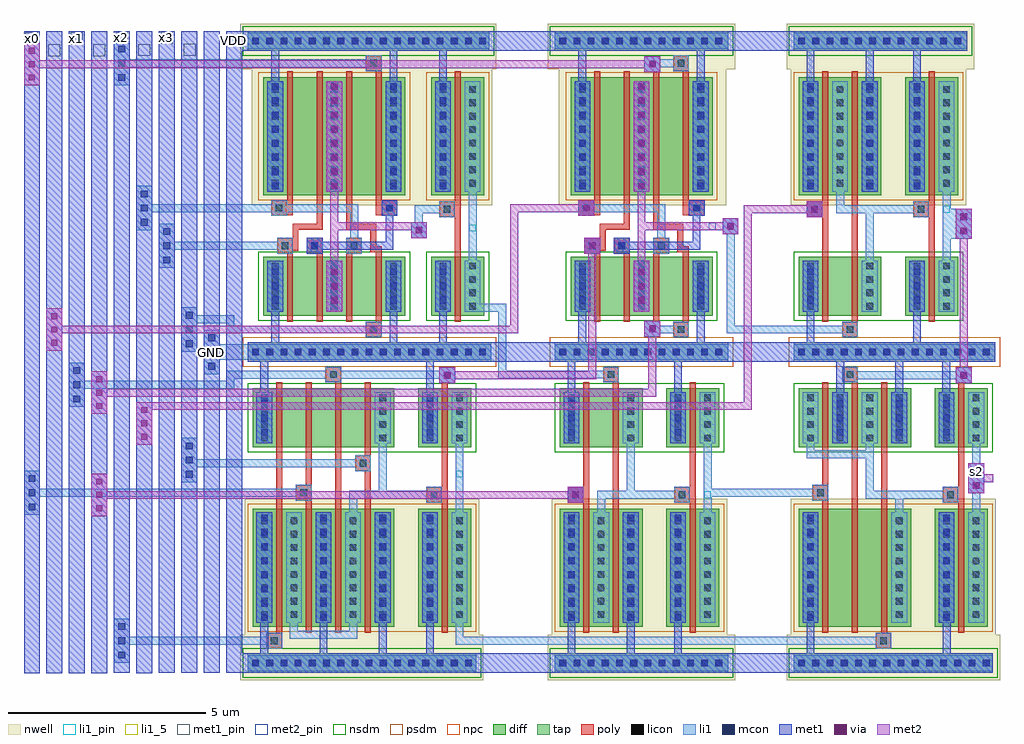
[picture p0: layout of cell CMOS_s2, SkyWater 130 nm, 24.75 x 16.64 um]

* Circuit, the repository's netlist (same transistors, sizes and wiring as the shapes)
* NGSPICE file created from CMOS_s2.ext - technology: sky130A

.subckt CMOS_AND GND AND A B VDD
X0 a_n265_0# B VDD VDD sky130_fd_pr__pfet_01v8 ad=1.8e+12p pd=7.2e+06u as=5.4e+12p ps=2.16e+07u w=3e+06u l=150000u
X1 VDD A a_n265_0# VDD sky130_fd_pr__pfet_01v8 ad=0p pd=0u as=0p ps=0u w=3e+06u l=150000u
X2 a_n265_0# A a_n265_n610# GND sky130_fd_pr__nfet_01v8 ad=9e+11p pd=4.2e+06u as=9e+11p ps=4.2e+06u w=1.5e+06u l=150000u
X3 AND a_n265_0# VDD VDD sky130_fd_pr__pfet_01v8 ad=1.8e+12p pd=7.2e+06u as=0p ps=0u w=3e+06u l=150000u
X4 a_n265_n610# B GND GND sky130_fd_pr__nfet_01v8 ad=0p pd=0u as=1.8e+12p ps=8.4e+06u w=1.5e+06u l=150000u
X5 AND a_n265_0# GND GND sky130_fd_pr__nfet_01v8 ad=9e+11p pd=4.2e+06u as=0p ps=0u w=1.5e+06u l=150000u
.ends

.subckt CMOS_3in_OR GND A B C OR VDD
X0 a_n480_n610# B GND GND sky130_fd_pr__nfet_01v8 ad=1.8e+12p pd=8.4e+06u as=2.7e+12p ps=1.26e+07u w=1.5e+06u l=150000u
X1 OR a_n480_n610# VDD VDD sky130_fd_pr__pfet_01v8 ad=1.8e+12p pd=7.2e+06u as=3.6e+12p ps=1.44e+07u w=3e+06u l=150000u
X2 a_n480_n610# C a_n180_0# VDD sky130_fd_pr__pfet_01v8 ad=1.8e+12p pd=7.2e+06u as=1.8e+12p ps=7.2e+06u w=3e+06u l=150000u
X3 GND A a_n480_n610# GND sky130_fd_pr__nfet_01v8 ad=0p pd=0u as=0p ps=0u w=1.5e+06u l=150000u
X4 OR a_n480_n610# GND GND sky130_fd_pr__nfet_01v8 ad=9e+11p pd=4.2e+06u as=0p ps=0u w=1.5e+06u l=150000u
X5 a_n330_0# A VDD VDD sky130_fd_pr__pfet_01v8 ad=1.8e+12p pd=7.2e+06u as=0p ps=0u w=3e+06u l=150000u
X6 a_n180_0# B a_n330_0# VDD sky130_fd_pr__pfet_01v8 ad=0p pd=0u as=0p ps=0u w=3e+06u l=150000u
X7 GND C a_n480_n610# GND sky130_fd_pr__nfet_01v8 ad=0p pd=0u as=0p ps=0u w=1.5e+06u l=150000u
.ends

.subckt CMOS_4in_AND GND OUT A B C D VDD
X0 a_n405_0# A a_n105_n610# GND sky130_fd_pr__nfet_01v8 ad=9e+11p pd=4.2e+06u as=9e+11p ps=4.2e+06u w=1.5e+06u l=150000u
X1 VDD C a_n405_0# VDD sky130_fd_pr__pfet_01v8 ad=7.2e+12p pd=2.88e+07u as=3.6e+12p ps=1.44e+07u w=3e+06u l=150000u
X2 a_n405_0# B VDD VDD sky130_fd_pr__pfet_01v8 ad=0p pd=0u as=0p ps=0u w=3e+06u l=150000u
X3 a_n405_0# D VDD VDD sky130_fd_pr__pfet_01v8 ad=0p pd=0u as=0p ps=0u w=3e+06u l=150000u
X4 VDD A a_n405_0# VDD sky130_fd_pr__pfet_01v8 ad=0p pd=0u as=0p ps=0u w=3e+06u l=150000u
X5 a_n105_n610# B a_n255_n610# GND sky130_fd_pr__nfet_01v8 ad=0p pd=0u as=9e+11p ps=4.2e+06u w=1.5e+06u l=150000u
X6 OUT a_n405_0# GND GND sky130_fd_pr__nfet_01v8 ad=9e+11p pd=4.2e+06u as=1.8e+12p ps=8.4e+06u w=1.5e+06u l=150000u
X7 a_n255_n610# C a_n405_n610# GND sky130_fd_pr__nfet_01v8 ad=0p pd=0u as=9e+11p ps=4.2e+06u w=1.5e+06u l=150000u
X8 OUT a_n405_0# VDD VDD sky130_fd_pr__pfet_01v8 ad=1.8e+12p pd=7.2e+06u as=0p ps=0u w=3e+06u l=150000u
X9 a_n405_n610# D GND GND sky130_fd_pr__nfet_01v8 ad=0p pd=0u as=0p ps=0u w=1.5e+06u l=150000u
.ends

.subckt CMOS_XNOR GND XNOR B A_bar A B_bar VDD
X0 XNOR a_n233_n610# GND GND sky130_fd_pr__nfet_01v8 ad=9e+11p pd=4.2e+06u as=2.7e+12p ps=1.26e+07u w=1.5e+06u l=150000u
X1 a_n383_n610# A GND GND sky130_fd_pr__nfet_01v8 ad=9e+11p pd=4.2e+06u as=0p ps=0u w=1.5e+06u l=150000u
X2 a_n233_n610# B a_n383_n610# GND sky130_fd_pr__nfet_01v8 ad=9e+11p pd=4.2e+06u as=0p ps=0u w=1.5e+06u l=150000u
X3 a_n383_0# B_bar VDD VDD sky130_fd_pr__pfet_01v8 ad=1.8e+12p pd=7.2e+06u as=5.4e+12p ps=2.16e+07u w=3e+06u l=150000u
X4 a_n233_n610# A a_n383_0# VDD sky130_fd_pr__pfet_01v8 ad=1.8e+12p pd=7.2e+06u as=0p ps=0u w=3e+06u l=150000u
X5 a_n83_0# A_bar a_n233_n610# VDD sky130_fd_pr__pfet_01v8 ad=1.8e+12p pd=7.2e+06u as=0p ps=0u w=3e+06u l=150000u
X6 a_n83_n610# B_bar a_n233_n610# GND sky130_fd_pr__nfet_01v8 ad=9e+11p pd=4.2e+06u as=0p ps=0u w=1.5e+06u l=150000u
X7 GND A_bar a_n83_n610# GND sky130_fd_pr__nfet_01v8 ad=0p pd=0u as=0p ps=0u w=1.5e+06u l=150000u
X8 XNOR a_n233_n610# VDD VDD sky130_fd_pr__pfet_01v8 ad=1.8e+12p pd=7.2e+06u as=0p ps=0u w=3e+06u l=150000u
X9 VDD B a_n83_0# VDD sky130_fd_pr__pfet_01v8 ad=0p pd=0u as=0p ps=0u w=3e+06u l=150000u
.ends

.subckt CMOS_XOR GND XOR B A_bar A B_bar VDD
X0 a_90_0# A_bar XOR VDD sky130_fd_pr__pfet_01v8 ad=1.8e+12p pd=7.2e+06u as=1.8e+12p ps=7.2e+06u w=3e+06u l=150000u
X1 VDD B a_90_0# VDD sky130_fd_pr__pfet_01v8 ad=3.6e+12p pd=1.44e+07u as=0p ps=0u w=3e+06u l=150000u
X2 a_n210_n610# A GND GND sky130_fd_pr__nfet_01v8 ad=9e+11p pd=4.2e+06u as=1.8e+12p ps=8.4e+06u w=1.5e+06u l=150000u
X3 GND A_bar a_90_n610# GND sky130_fd_pr__nfet_01v8 ad=0p pd=0u as=9e+11p ps=4.2e+06u w=1.5e+06u l=150000u
X4 XOR A a_n210_0# VDD sky130_fd_pr__pfet_01v8 ad=0p pd=0u as=1.8e+12p ps=7.2e+06u w=3e+06u l=150000u
X5 a_n210_0# B_bar VDD VDD sky130_fd_pr__pfet_01v8 ad=0p pd=0u as=0p ps=0u w=3e+06u l=150000u
X6 a_90_n610# B_bar XOR GND sky130_fd_pr__nfet_01v8 ad=0p pd=0u as=9e+11p ps=4.2e+06u w=1.5e+06u l=150000u
X7 XOR B a_n210_n610# GND sky130_fd_pr__nfet_01v8 ad=0p pd=0u as=0p ps=0u w=1.5e+06u l=150000u
.ends

.subckt CMOS_s2 GND x0 x0_bar x1 x1_bar x2 x2_bar x3 VDD x3_bar s2
XCMOS_AND_0 GND CMOS_AND_0/AND CMOS_AND_0/A x2_bar VDD CMOS_AND
XCMOS_AND_1 GND CMOS_AND_1/AND CMOS_AND_1/A x1_bar VDD CMOS_AND
XCMOS_3in_OR_0 GND CMOS_AND_1/AND CMOS_AND_0/AND CMOS_3in_OR_0/C s2 VDD CMOS_3in_OR
XCMOS_4in_AND_0 GND CMOS_3in_OR_0/C x3_bar x1 x0 x2 VDD CMOS_4in_AND
XCMOS_XNOR_0 GND CMOS_AND_1/A x2 x3_bar x3 x2_bar VDD CMOS_XNOR
XCMOS_XOR_0 GND CMOS_AND_0/A x0 x1_bar x1 x0_bar VDD CMOS_XOR
.ends

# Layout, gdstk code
import gdstk
lib = gdstk.Library(unit=1e-6, precision=1e-09)
def R(c, l, rs):  # rectangles x0, y0, x1, y1
    for r in rs: c.add(gdstk.rectangle(r[:2], r[2:], *l))
def A(c, l, x, y, w, h, nx, ny, dx, dy):  # array of equal rectangles
    R(c, l, [(x+i*dx, y+j*dy, x+i*dx+w, y+j*dy+h) for i in range(nx) for j in range(ny)])
nwell = (64, 20)
diff = (65, 20)
tap = (65, 44)
poly = (66, 20)
licon = (66, 44)
li1_5 = (67, 5)
li1_pin = (67, 16)
li1 = (67, 20)
mcon = (67, 44)
met1_pin = (68, 16)
met1 = (68, 20)
via = (68, 44)
met2_pin = (69, 16)
met2 = (69, 20)
nsdm = (93, 44)
psdm = (94, 20)
npc = (95, 20)

cmos_xnor = lib.new_cell('CMOS_XNOR')
R(cmos_xnor, nwell, [(-2.965,-0.25,3.14,3.2), (-3.245,3.2,3.245,4.35)])
R(cmos_xnor, diff, [(-2.665,-3.05,0.935,-1.55), (1.59,-3.05,2.94,-1.55), (-2.665,0,0.935,3), (1.59,0,2.94,3)])
R(cmos_xnor, tap, [(-3.065,-4.22,3.12,-3.72), (-3.065,3.67,3.065,4.17)])
A(cmos_xnor, poly, -2.065, -3.2, 0.15, 1.725, 3, 1, 0.75, 0)
R(cmos_xnor, poly, [(-0.065,-3.6,0.335,-3.2), (0.185,-3.2,0.335,-1.44), (2.19,-3.2,2.34,-0.55), (-2.315,-1.475,-1.915,-1.4), (-1.565,-1.475,-1.165,-1.075), (-0.565,-1.475,-0.165,-1.075), (0.045,-1.44,0.335,-1.29), (-2.315,-1.4,-1.775,-1.075), (0.045,-1.29,0.195,-0.865), (-1.925,-1.075,-1.775,-0.865), (-1.925,-0.865,-1.165,-0.715), (-0.565,-0.865,0.195,-0.715), (-1.315,-0.715,-1.165,3.15), (-0.565,-0.715,-0.415,3.15), (1.79,-0.55,2.34,-0.15), (-2.465,-0.52,-2.065,-0.505), (0.335,-0.52,0.735,-0.505), (-2.465,-0.505,-1.915,-0.12), (0.185,-0.505,0.735,-0.12), (2.19,-0.15,2.34,3.15), (-2.065,-0.12,-1.915,3.15), (0.185,-0.12,0.335,3.15), (-0.065,3.15,0.335,3.55)])
A(cmos_xnor, licon, -2.95, -4.055, 0.17, 0.17, 17, 2, 0.36, 7.89)
A(cmos_xnor, licon, -2.45, -2.895, 0.17, 0.17, 3, 4, 1.5, 0.34)
A(cmos_xnor, licon, 1.805, -2.895, 0.17, 0.17, 1, 4, 0, 0.34)
A(cmos_xnor, licon, 2.555, -2.895, 0.17, 0.17, 1, 4, 0, 0.34)
A(cmos_xnor, licon, -2.45, 0.225, 0.17, 0.17, 3, 8, 1.5, 0.34)
A(cmos_xnor, licon, 1.805, 0.225, 0.17, 0.17, 1, 8, 0, 0.34)
A(cmos_xnor, licon, 2.555, 0.225, 0.17, 0.17, 1, 8, 0, 0.34)
R(cmos_xnor, licon, [(0.05,-3.485,0.22,-3.315), (-2.2,-1.36,-2.03,-1.19), (-1.45,-1.36,-1.28,-1.19), (-0.45,-1.36,-0.28,-1.19), (1.905,-0.435,2.075,-0.265), (-2.35,-0.405,-2.18,-0.235), (0.45,-0.405,0.62,-0.235), (0.05,3.265,0.22,3.435)])
R(cmos_xnor, li1_5, [(1.905,-0.435,2.075,-0.265)])
R(cmos_xnor, li1_pin, [(0.05,-3.485,0.22,-3.315), (-2.2,-1.36,-2.03,-1.19), (2.555,-0.91,2.725,-0.74), (-2.38,-0.445,-2.135,-0.21), (0.05,3.265,0.22,3.435)])
A(cmos_xnor, li1, -2.565, -2.95, 0.4, 1.3, 3, 1, 1.5, 0)
A(cmos_xnor, li1, -2.565, 0.1, 0.4, 2.8, 3, 1, 1.5, 0)
R(cmos_xnor, li1, [(-3.065,-4.17,3.12,-3.77), (-0.065,-3.6,0.335,-3.2), (1.69,-2.95,2.09,-1.65), (2.44,-2.95,2.84,-1.65), (2.54,-1.65,2.74,0.1), (-2.315,-1.475,-1.915,-1.075), (-1.565,-1.475,-1.165,-1.075), (-0.565,-1.475,-0.165,-1.075), (1.08,-1.08,1.48,-0.68), (-0.465,-1.075,-0.265,-0.42), (1.18,-0.68,1.38,-0.45), (1.79,-0.55,2.19,-0.45), (-2.465,-0.52,-2.065,-0.42), (0.335,-0.52,0.735,-0.12), (1.18,-0.45,2.19,-0.25), (-2.465,-0.42,-0.265,-0.22), (1.79,-0.25,2.19,-0.15), (-2.465,-0.22,-2.065,-0.12), (1.69,0.1,2.09,2.9), (2.44,0.1,2.84,2.9), (-0.065,3.15,0.335,3.55), (-3.065,3.72,3.065,4.12)])
A(cmos_xnor, mcon, -2.95, -4.055, 0.17, 0.17, 17, 2, 0.36, 7.89)
A(cmos_xnor, mcon, -2.45, -2.745, 0.17, 0.17, 3, 3, 1.5, 0.36)
A(cmos_xnor, mcon, 1.805, -2.745, 0.17, 0.17, 1, 3, 0, 0.36)
A(cmos_xnor, mcon, -2.45, 0.155, 0.17, 0.17, 3, 8, 1.5, 0.36)
A(cmos_xnor, mcon, 1.805, 0.155, 0.17, 0.17, 1, 8, 0, 0.36)
R(cmos_xnor, mcon, [(-1.45,-1.36,-1.28,-1.19), (1.195,-0.965,1.365,-0.795), (0.45,-0.405,0.62,-0.235)])
R(cmos_xnor, met1_pin, [(-1.165,-4.07,-0.965,-3.87), (-1.165,3.82,-0.965,4.02)])
A(cmos_xnor, met1, -2.565, -2.95, 0.4, 1.3, 3, 1, 1.5, 0)
A(cmos_xnor, met1, -2.565, 0.1, 0.4, 2.8, 3, 1, 1.5, 0)
R(cmos_xnor, met1, [(-3.065,-4.22,3.12,-3.72), (-2.465,-3.72,-2.265,-2.95), (0.535,-3.72,0.735,-2.95), (1.79,-3.72,1.99,-2.95), (1.69,-2.95,2.09,-1.65), (-1.565,-1.475,-1.165,-1.375), (-1.565,-1.375,0.63,-1.175), (-1.565,-1.175,-1.165,-1.075), (0.435,-1.175,0.63,-0.52), (1.08,-1.08,1.48,-0.68), (0.335,-0.52,0.735,-0.12), (1.69,0.1,2.09,2.9), (-2.465,2.9,-2.265,3.67), (0.535,2.9,0.735,3.67), (1.79,2.9,1.99,3.67), (-3.065,3.67,3.065,4.17)])
A(cmos_xnor, via, -0.94, -2.735, 0.15, 0.15, 1, 3, 0, 0.36)
A(cmos_xnor, via, -0.94, 0.165, 0.15, 0.15, 1, 8, 0, 0.36)
R(cmos_xnor, via, [(1.205,-0.955,1.355,-0.805)])
R(cmos_xnor, met2, [(-1.065,-2.95,-0.665,-1.65), (-0.965,-1.65,-0.765,-0.88), (1.08,-1.08,1.48,-0.88), (-0.965,-0.88,1.48,-0.68), (-0.965,-0.68,-0.765,0.1), (-1.065,0.1,-0.665,2.9)])
R(cmos_xnor, nsdm, [(-2.79,-3.175,1.06,-1.425), (1.465,-3.175,3.065,-1.425), (-3.19,3.545,3.19,4.295)])
R(cmos_xnor, psdm, [(-3.19,-4.345,3.245,-3.595), (-2.79,-0.125,1.06,3.125), (1.465,-0.125,3.065,3.125)])
R(cmos_xnor, npc, [(-0.05,-3.585,0.32,-3.215), (-2.3,-1.46,-1.93,-1.09), (-1.55,-1.46,-1.18,-1.09), (-0.55,-1.46,-0.18,-1.09), (1.805,-0.535,2.175,-0.165), (-2.45,-0.505,-2.08,-0.135), (0.35,-0.505,0.72,-0.135), (-0.05,3.165,0.32,3.535)])
cmos_xnor.add(gdstk.Label('GND!', (-1.065,-3.97), layer=68, texttype=16))
cmos_xnor.add(gdstk.Label('VDD', (-1.065,3.92), layer=68, texttype=16))
cmos_xnor.add(gdstk.Label('XNOR', (2.64,-0.825), layer=67, texttype=16))
cmos_xnor.add(gdstk.Label('B', (0.135,3.35), layer=67, texttype=16))
cmos_xnor.add(gdstk.Label('A_bar', (0.135,-3.4), layer=67, texttype=16))
cmos_xnor.add(gdstk.Label('A', (-2.115,-1.275), layer=67, texttype=16))
cmos_xnor.add(gdstk.Label('B_bar', (-2.257,-0.327), layer=67, texttype=16))

cmos_xor = lib.new_cell('CMOS_XOR')
R(cmos_xor, nwell, [(-2.1,-0.25,2.15,3.2), (-2.38,3.2,2.38,4.35)])
R(cmos_xor, diff, [(-1.8,-3.05,1.8,-1.55), (-1.8,0,1.8,3)])
R(cmos_xor, tap, [(-2.2,-4.22,2.2,-3.72), (-2.2,3.67,2.2,4.17)])
A(cmos_xor, poly, -1.2, -3.2, 0.15, 1.725, 3, 1, 0.75, 0)
R(cmos_xor, poly, [(0.8,-3.6,1.2,-3.2), (1.05,-3.2,1.2,-1.44), (-1.45,-1.475,-1.05,-1.4), (-0.7,-1.475,-0.3,-1.075), (0.3,-1.475,0.7,-1.075), (0.91,-1.44,1.2,-1.29), (-1.45,-1.4,-0.91,-1.075), (0.91,-1.29,1.06,-0.865), (-1.06,-1.075,-0.91,-0.865), (-1.06,-0.865,-0.3,-0.715), (0.3,-0.865,1.06,-0.715), (-0.45,-0.715,-0.3,3.15), (0.3,-0.715,0.45,3.15), (-1.6,-0.52,-1.2,-0.505), (1.2,-0.52,1.6,-0.505), (-1.6,-0.505,-1.05,-0.12), (1.05,-0.505,1.6,-0.12), (-1.2,-0.12,-1.05,3.15), (1.05,-0.12,1.2,3.15), (0.8,3.15,1.2,3.55)])
A(cmos_xor, licon, -2.085, -4.055, 0.17, 0.17, 12, 2, 0.36, 7.89)
A(cmos_xor, licon, -1.585, -2.895, 0.17, 0.17, 3, 4, 1.5, 0.34)
A(cmos_xor, licon, -1.585, 0.225, 0.17, 0.17, 3, 8, 1.5, 0.34)
R(cmos_xor, licon, [(0.915,-3.485,1.085,-3.315), (-1.335,-1.36,-1.165,-1.19), (-0.585,-1.36,-0.415,-1.19), (0.415,-1.36,0.585,-1.19), (-1.485,-0.405,-1.315,-0.235), (1.315,-0.405,1.485,-0.235), (0.915,3.265,1.085,3.435)])
R(cmos_xor, li1_pin, [(0.915,-3.485,1.085,-3.315), (-1.335,-1.36,-1.165,-1.19), (-1.515,-0.445,-1.27,-0.21), (0.915,3.265,1.085,3.435)])
A(cmos_xor, li1, -1.7, -2.95, 0.4, 1.3, 3, 1, 1.5, 0)
A(cmos_xor, li1, -1.7, 0.1, 0.4, 2.8, 3, 1, 1.5, 0)
R(cmos_xor, li1, [(-2.2,-4.17,2.2,-3.77), (0.8,-3.6,1.2,-3.2), (-1.45,-1.475,-1.05,-1.075), (-0.7,-1.475,-0.3,-1.075), (0.3,-1.475,0.7,-1.075), (0.4,-1.075,0.6,-0.42), (-1.6,-0.52,-1.2,-0.42), (1.2,-0.52,1.6,-0.12), (-1.6,-0.42,0.6,-0.22), (-1.6,-0.22,-1.2,-0.12), (0.8,3.15,1.2,3.55), (-2.2,3.72,2.2,4.12)])
A(cmos_xor, mcon, -2.085, -4.055, 0.17, 0.17, 12, 2, 0.36, 7.89)
A(cmos_xor, mcon, -1.585, -2.745, 0.17, 0.17, 3, 3, 1.5, 0.36)
A(cmos_xor, mcon, -1.585, 0.155, 0.17, 0.17, 3, 8, 1.5, 0.36)
R(cmos_xor, mcon, [(-0.585,-1.36,-0.415,-1.19), (1.315,-0.405,1.485,-0.235)])
R(cmos_xor, met1_pin, [(-0.3,-4.07,-0.1,-3.87), (-0.3,3.82,-0.1,4.02)])
A(cmos_xor, met1, -1.7, -2.95, 0.4, 1.3, 3, 1, 1.5, 0)
A(cmos_xor, met1, -1.7, 0.1, 0.4, 2.8, 3, 1, 1.5, 0)
R(cmos_xor, met1, [(-2.2,-4.22,2.2,-3.72), (-1.6,-3.72,-1.4,-2.95), (1.4,-3.72,1.6,-2.95), (-0.7,-1.475,-0.3,-1.375), (-0.7,-1.375,1.495,-1.175), (-0.7,-1.175,-0.3,-1.075), (1.3,-1.175,1.495,-0.52), (1.2,-0.52,1.6,-0.12), (-1.6,2.9,-1.4,3.67), (1.4,2.9,1.6,3.67), (-2.2,3.67,2.2,4.17)])
A(cmos_xor, via, -0.075, -2.735, 0.15, 0.15, 1, 3, 0, 0.36)
A(cmos_xor, via, -0.075, 0.165, 0.15, 0.15, 1, 8, 0, 0.36)
R(cmos_xor, met2_pin, [(1.7,-0.87,1.88,-0.69)])
R(cmos_xor, met2, [(-0.2,-2.95,0.2,-1.65), (-0.1,-1.65,0.1,-0.88), (-0.1,-0.88,2.15,-0.68), (-0.1,-0.68,0.1,0.1), (-0.2,0.1,0.2,2.9)])
R(cmos_xor, nsdm, [(-1.925,-3.175,1.925,-1.425), (-2.325,3.545,2.325,4.295)])
R(cmos_xor, psdm, [(-2.325,-4.345,2.325,-3.595), (-1.925,-0.125,1.925,3.125)])
R(cmos_xor, npc, [(0.815,-3.585,1.185,-3.215), (-1.435,-1.46,-1.065,-1.09), (-0.685,-1.46,-0.315,-1.09), (0.315,-1.46,0.685,-1.09), (-1.585,-0.505,-1.215,-0.135), (1.215,-0.505,1.585,-0.135), (0.815,3.165,1.185,3.535)])
cmos_xor.add(gdstk.Label('GND!', (-0.2,-3.97), layer=68, texttype=16))
cmos_xor.add(gdstk.Label('VDD', (-0.2,3.92), layer=68, texttype=16))
cmos_xor.add(gdstk.Label('B', (1,3.35), layer=67, texttype=16))
cmos_xor.add(gdstk.Label('A_bar', (1,-3.4), layer=67, texttype=16))
cmos_xor.add(gdstk.Label('A', (-1.25,-1.275), layer=67, texttype=16))
cmos_xor.add(gdstk.Label('B_bar', (-1.392,-0.327), layer=67, texttype=16))
cmos_xor.add(gdstk.Label('XOR', (1.79,-0.78), layer=69, texttype=16))

cmos_3in_or = lib.new_cell('CMOS_3in_OR')
R(cmos_3in_or, nwell, [(-2.6,-0.25,2.6,3.2), (-2.705,3.2,2.705,4.35)])
R(cmos_3in_or, diff, [(-2.4,-3.05,0.45,-1.55), (1.05,-3.05,2.4,-1.55), (-2.4,0,0.45,3), (1.05,0,2.4,3)])
R(cmos_3in_or, tap, [(-2.525,-4.22,2.58,-3.72), (-2.525,3.67,2.525,4.17)])
R(cmos_3in_or, poly, [(-1.3,-3.6,-0.9,-3.2), (-1.8,-3.2,-1.65,-0.6), (-1.05,-3.2,-0.9,3.15), (-0.3,-3.2,-0.15,3.15), (1.65,-3.2,1.8,-0.55), (-2.05,-0.6,-1.65,-0.2), (1.25,-0.55,1.8,-0.15), (-1.8,-0.2,-1.65,3.15), (1.65,-0.15,1.8,3.15), (-0.45,3.15,-0.05,3.55)])
A(cmos_3in_or, licon, -2.41, -4.055, 0.17, 0.17, 14, 2, 0.36, 7.89)
A(cmos_3in_or, licon, -2.185, -2.895, 0.17, 0.17, 4, 4, 0.75, 0.34)
A(cmos_3in_or, licon, 1.265, -2.895, 0.17, 0.17, 1, 4, 0, 0.34)
A(cmos_3in_or, licon, 2.015, -2.895, 0.17, 0.17, 1, 4, 0, 0.34)
A(cmos_3in_or, licon, -2.185, 0.225, 0.17, 0.17, 1, 8, 0, 0.34)
A(cmos_3in_or, licon, 0.065, 0.225, 0.17, 0.17, 1, 8, 0, 0.34)
A(cmos_3in_or, licon, 1.265, 0.225, 0.17, 0.17, 1, 8, 0, 0.34)
A(cmos_3in_or, licon, 2.015, 0.225, 0.17, 0.17, 1, 8, 0, 0.34)
R(cmos_3in_or, licon, [(-1.185,-3.485,-1.015,-3.315), (-1.935,-0.485,-1.765,-0.315), (1.365,-0.435,1.535,-0.265), (-0.335,3.265,-0.165,3.435)])
R(cmos_3in_or, li1_pin, [(-1.185,-3.485,-1.015,-3.315), (2.015,-1,2.185,-0.83), (-1.935,-0.485,-1.765,-0.315), (-0.335,3.265,-0.165,3.435)])
A(cmos_3in_or, li1, -2.3, -2.95, 0.4, 1.3, 4, 1, 0.75, 0)
R(cmos_3in_or, li1, [(-2.525,-4.17,2.58,-3.77), (-1.3,-3.6,-0.9,-3.2), (1.15,-2.95,1.55,-1.65), (1.9,-2.95,2.3,-1.65), (-2.2,-1.65,-2,-1.48), (-0.7,-1.65,-0.5,-1.48), (2,-1.65,2.2,0.1), (-2.2,-1.48,-0.5,-1.28), (-0.7,-1.28,-0.5,-0.45), (-2.05,-0.6,-1.65,-0.2), (1.25,-0.55,1.65,-0.45), (-0.7,-0.45,1.65,-0.25), (0.05,-0.25,0.25,0.1), (1.25,-0.25,1.65,-0.15), (-2.3,0.1,-1.9,2.9), (-0.05,0.1,0.35,2.9), (1.15,0.1,1.55,2.9), (1.9,0.1,2.3,2.9), (-0.45,3.15,-0.05,3.55), (-2.525,3.72,2.525,4.12)])
A(cmos_3in_or, mcon, -2.41, -4.055, 0.17, 0.17, 14, 2, 0.36, 7.89)
A(cmos_3in_or, mcon, -1.435, -2.745, 0.17, 0.17, 1, 3, 0, 0.36)
A(cmos_3in_or, mcon, 0.065, -2.745, 0.17, 0.17, 1, 3, 0, 0.36)
A(cmos_3in_or, mcon, 1.265, -2.745, 0.17, 0.17, 1, 3, 0, 0.36)
A(cmos_3in_or, mcon, -2.185, 0.155, 0.17, 0.17, 1, 8, 0, 0.36)
A(cmos_3in_or, mcon, 1.265, 0.155, 0.17, 0.17, 1, 8, 0, 0.36)
R(cmos_3in_or, met1_pin, [(-0.625,-4.07,-0.425,-3.87), (-0.625,3.82,-0.425,4.02)])
R(cmos_3in_or, met1, [(-2.525,-4.22,2.58,-3.72), (-1.45,-3.72,-1.25,-2.95), (0.05,-3.72,0.25,-2.95), (1.245,-3.72,1.445,-2.95), (-1.55,-2.95,-1.15,-1.65), (-0.05,-2.95,0.35,-1.65), (1.15,-2.95,1.55,-1.65), (-2.3,0.1,-1.9,2.9), (1.15,0.1,1.55,2.9), (-2.2,2.9,-2,3.67), (1.255,2.9,1.455,3.67), (-2.525,3.67,2.525,4.17)])
R(cmos_3in_or, nsdm, [(-2.525,-3.175,2.525,-1.425), (-2.65,3.545,2.65,4.295)])
R(cmos_3in_or, psdm, [(-2.65,-4.345,2.705,-3.595), (-2.525,-0.125,2.525,3.125)])
R(cmos_3in_or, npc, [(-1.285,-3.585,-0.915,-3.215), (-2.035,-0.585,-1.665,-0.215), (1.265,-0.535,1.635,-0.165), (-0.435,3.165,-0.065,3.535)])
cmos_3in_or.add(gdstk.Label('GND!', (-0.525,-3.97), layer=68, texttype=16))
cmos_3in_or.add(gdstk.Label('VDD', (-0.525,3.92), layer=68, texttype=16))
cmos_3in_or.add(gdstk.Label('A', (-1.85,-0.4), layer=67, texttype=16))
cmos_3in_or.add(gdstk.Label('B', (-1.1,-3.4), layer=67, texttype=16))
cmos_3in_or.add(gdstk.Label('C', (-0.25,3.35), layer=67, texttype=16))
cmos_3in_or.add(gdstk.Label('OR', (2.1,-0.915), layer=67, texttype=16))

cmos_and = lib.new_cell('CMOS_AND')
R(cmos_and, nwell, [(-2.275,-0.25,2.175,3.2), (-2.38,3.2,2.38,4.35)])
R(cmos_and, diff, [(-2.075,-3.05,0.025,-1.55), (0.625,-3.05,1.975,-1.55), (-2.075,0,0.025,3), (0.625,0,1.975,3)])
R(cmos_and, tap, [(-2.2,-4.22,2.2,-3.72), (-2.2,3.67,2.2,4.17)])
R(cmos_and, poly, [(-0.975,-3.6,-0.575,-3.2), (-1.475,-3.2,-1.325,-0.55), (-0.725,-3.2,-0.575,3.15), (1.225,-3.2,1.375,-0.55), (-1.875,-0.55,-1.325,-0.15), (0.825,-0.55,1.375,-0.15), (-1.475,-0.15,-1.325,3.15), (1.225,-0.15,1.375,3.15)])
A(cmos_and, licon, -2.085, -4.055, 0.17, 0.17, 12, 2, 0.36, 7.89)
A(cmos_and, licon, -1.86, -2.895, 0.17, 0.17, 1, 4, 0, 0.34)
A(cmos_and, licon, -0.36, -2.895, 0.17, 0.17, 1, 4, 0, 0.34)
A(cmos_and, licon, 0.84, -2.895, 0.17, 0.17, 1, 4, 0, 0.34)
A(cmos_and, licon, 1.59, -2.895, 0.17, 0.17, 1, 4, 0, 0.34)
A(cmos_and, licon, -1.86, 0.225, 0.17, 0.17, 3, 8, 0.75, 0.34)
A(cmos_and, licon, 0.84, 0.225, 0.17, 0.17, 1, 8, 0, 0.34)
A(cmos_and, licon, 1.59, 0.225, 0.17, 0.17, 1, 8, 0, 0.34)
R(cmos_and, licon, [(-0.86,-3.485,-0.69,-3.315), (-1.76,-0.435,-1.59,-0.265), (0.94,-0.435,1.11,-0.265)])
R(cmos_and, li1_pin, [(-0.86,-3.485,-0.69,-3.315), (-1.76,-0.435,-1.59,-0.265), (1.59,-0.435,1.76,-0.265)])
A(cmos_and, li1, -1.975, 0.1, 0.4, 2.8, 3, 1, 0.75, 0)
R(cmos_and, li1, [(-2.2,-4.17,2.2,-3.77), (-0.975,-3.6,-0.575,-3.2), (-1.975,-2.95,-1.575,-1.65), (-0.475,-2.95,-0.075,-1.65), (0.725,-2.95,1.125,-1.65), (1.475,-2.95,1.875,-1.65), (-0.375,-1.65,-0.175,-0.45), (1.575,-1.65,1.775,0.1), (-1.875,-0.55,-1.475,-0.15), (0.825,-0.55,1.225,-0.45), (-1.125,-0.45,1.225,-0.25), (-1.125,-0.25,-0.925,0.1), (0.825,-0.25,1.225,-0.15), (0.725,0.1,1.125,2.9), (1.475,0.1,1.875,2.9), (-2.2,3.72,2.2,4.12)])
A(cmos_and, mcon, -2.085, -4.055, 0.17, 0.17, 12, 2, 0.36, 7.89)
A(cmos_and, mcon, -1.86, -2.745, 0.17, 0.17, 1, 3, 0, 0.36)
A(cmos_and, mcon, 0.84, -2.745, 0.17, 0.17, 1, 3, 0, 0.36)
A(cmos_and, mcon, -1.86, 0.155, 0.17, 0.17, 1, 8, 0, 0.36)
A(cmos_and, mcon, -0.36, 0.155, 0.17, 0.17, 1, 8, 0, 0.36)
A(cmos_and, mcon, 0.84, 0.155, 0.17, 0.17, 1, 8, 0, 0.36)
R(cmos_and, met1_pin, [(-0.3,-4.07,-0.1,-3.87), (-0.3,3.82,-0.1,4.02)])
R(cmos_and, met1, [(-2.2,-4.22,2.2,-3.72), (-1.875,-3.72,-1.675,-2.95), (0.825,-3.72,1.025,-2.95), (-1.975,-2.95,-1.575,-1.65), (0.725,-2.95,1.125,-1.65), (-1.975,0.1,-1.575,2.9), (-0.475,0.1,-0.075,2.9), (0.725,0.1,1.125,2.9), (-1.875,2.9,-1.675,3.67), (-0.37,2.9,-0.17,3.67), (0.825,2.9,1.025,3.67), (-2.2,3.67,2.2,4.17)])
R(cmos_and, nsdm, [(-2.2,-3.175,2.1,-1.425), (-2.325,3.545,2.325,4.295)])
R(cmos_and, psdm, [(-2.325,-4.345,2.325,-3.595), (-2.2,-0.125,2.1,3.125)])
R(cmos_and, npc, [(-0.96,-3.585,-0.59,-3.215), (-1.86,-0.535,-1.49,-0.165), (0.84,-0.535,1.21,-0.165)])
cmos_and.add(gdstk.Label('GND!', (-0.2,-3.97), layer=68, texttype=16))
cmos_and.add(gdstk.Label('VDD', (-0.2,3.92), layer=68, texttype=16))
cmos_and.add(gdstk.Label('AND', (1.675,-0.35), layer=67, texttype=16))
cmos_and.add(gdstk.Label('A', (-0.775,-3.4), layer=67, texttype=16))
cmos_and.add(gdstk.Label('B', (-1.675,-0.35), layer=67, texttype=16))

cmos_4in_and = lib.new_cell('CMOS_4in_AND')
R(cmos_4in_and, nwell, [(-2.975,-0.25,2.975,3.2), (-3.08,3.2,3.08,4.35)])
R(cmos_4in_and, diff, [(-2.775,-3.05,0.825,-1.55), (1.425,-3.05,2.775,-1.55), (-2.775,0,0.825,3), (1.425,0,2.775,3)])
R(cmos_4in_and, tap, [(-2.9,-4.22,2.9,-3.72), (-2.9,3.67,2.9,4.17)])
R(cmos_4in_and, poly, [(-0.925,-3.6,-0.525,-3.2), (-2.175,-3.2,-2.025,3.15), (-1.425,-3.2,-1.275,-0.6), (-0.675,-3.2,-0.525,3.15), (0.075,-3.2,0.225,-1.35), (2.025,-3.2,2.175,-0.55), (-0.175,-1.35,0.225,-0.95), (0.075,-0.95,0.225,3.15), (-1.675,-0.6,-1.275,-0.2), (1.625,-0.55,2.175,-0.15), (-1.425,-0.2,-1.275,3.15), (2.025,-0.15,2.175,3.15), (-2.425,3.15,-2.025,3.55)])
A(cmos_4in_and, licon, -2.785, -4.055, 0.17, 0.17, 16, 2, 0.36, 7.89)
A(cmos_4in_and, licon, -2.56, -2.895, 0.17, 0.17, 1, 4, 0, 0.34)
A(cmos_4in_and, licon, 0.44, -2.895, 0.17, 0.17, 1, 4, 0, 0.34)
A(cmos_4in_and, licon, 1.64, -2.895, 0.17, 0.17, 1, 4, 0, 0.34)
A(cmos_4in_and, licon, 2.39, -2.895, 0.17, 0.17, 1, 4, 0, 0.34)
A(cmos_4in_and, licon, -2.56, 0.225, 0.17, 0.17, 5, 8, 0.75, 0.34)
A(cmos_4in_and, licon, 1.64, 0.225, 0.17, 0.17, 1, 8, 0, 0.34)
A(cmos_4in_and, licon, 2.39, 0.225, 0.17, 0.17, 1, 8, 0, 0.34)
R(cmos_4in_and, licon, [(-0.81,-3.485,-0.64,-3.315), (-0.06,-1.235,0.11,-1.065), (-1.56,-0.485,-1.39,-0.315), (1.74,-0.435,1.91,-0.265), (-2.31,3.265,-2.14,3.435)])
R(cmos_4in_and, li1_pin, [(-0.81,-3.485,-0.64,-3.315), (-0.06,-1.235,0.11,-1.065), (2.39,-0.965,2.56,-0.795), (-1.56,-0.485,-1.39,-0.315), (-2.31,3.265,-2.14,3.435)])
A(cmos_4in_and, li1, -2.675, 0.1, 0.4, 2.8, 5, 1, 0.75, 0)
R(cmos_4in_and, li1, [(-2.9,-4.17,2.9,-3.77), (-0.925,-3.6,-0.525,-3.2), (-2.675,-2.95,-2.275,-1.65), (0.325,-2.95,0.725,-1.65), (1.525,-2.95,1.925,-1.65), (2.275,-2.95,2.675,-1.65), (0.425,-1.65,0.625,-0.45), (2.375,-1.65,2.575,0.1), (-0.175,-1.35,0.225,-0.95), (-1.675,-0.6,-1.275,-0.2), (1.625,-0.55,2.025,-0.45), (-0.325,-0.45,2.025,-0.25), (-0.325,-0.25,-0.125,0.1), (1.625,-0.25,2.025,-0.15), (1.525,0.1,1.925,2.9), (2.275,0.1,2.675,2.9), (-1.825,2.9,-1.625,3.1), (-0.325,2.9,-0.125,3.1), (-1.825,3.1,-0.125,3.3), (-2.425,3.15,-2.025,3.55), (-2.9,3.72,2.9,4.12)])
A(cmos_4in_and, mcon, -2.785, -4.055, 0.17, 0.17, 16, 2, 0.36, 7.89)
A(cmos_4in_and, mcon, -2.56, -2.745, 0.17, 0.17, 1, 3, 0, 0.36)
A(cmos_4in_and, mcon, 1.64, -2.745, 0.17, 0.17, 1, 3, 0, 0.36)
A(cmos_4in_and, mcon, -2.56, 0.155, 0.17, 0.17, 3, 8, 1.5, 0.36)
A(cmos_4in_and, mcon, 1.64, 0.155, 0.17, 0.17, 1, 8, 0, 0.36)
R(cmos_4in_and, met1_pin, [(-1,-4.07,-0.8,-3.87), (-1,3.82,-0.8,4.02)])
A(cmos_4in_and, met1, -2.675, 0.1, 0.4, 2.8, 3, 1, 1.5, 0)
A(cmos_4in_and, met1, -2.575, 2.9, 0.2, 0.77, 3, 1, 1.5, 0)
R(cmos_4in_and, met1, [(-2.9,-4.22,2.9,-3.72), (-2.575,-3.72,-2.375,-2.95), (1.625,-3.72,1.825,-2.95), (-2.675,-2.95,-2.275,-1.65), (1.525,-2.95,1.925,-1.65), (1.525,0.1,1.925,2.9), (1.625,2.9,1.825,3.67), (-2.9,3.67,2.9,4.17)])
R(cmos_4in_and, nsdm, [(-2.9,-3.175,2.9,-1.425), (-3.025,3.545,3.025,4.295)])
R(cmos_4in_and, psdm, [(-3.025,-4.345,3.025,-3.595), (-2.9,-0.125,2.9,3.125)])
R(cmos_4in_and, npc, [(-0.91,-3.585,-0.54,-3.215), (-0.16,-1.335,0.21,-0.965), (-1.66,-0.585,-1.29,-0.215), (1.64,-0.535,2.01,-0.165), (-2.41,3.165,-2.04,3.535)])
cmos_4in_and.add(gdstk.Label('GND!', (-0.9,-3.97), layer=68, texttype=16))
cmos_4in_and.add(gdstk.Label('VDD', (-0.9,3.92), layer=68, texttype=16))
cmos_4in_and.add(gdstk.Label('OUT', (2.475,-0.88), layer=67, texttype=16))
cmos_4in_and.add(gdstk.Label('A', (0.025,-1.15), layer=67, texttype=16))
cmos_4in_and.add(gdstk.Label('B', (-0.725,-3.4), layer=67, texttype=16))
cmos_4in_and.add(gdstk.Label('C', (-1.475,-0.4), layer=67, texttype=16))
cmos_4in_and.add(gdstk.Label('D', (-2.225,3.35), layer=67, texttype=16))

cmos_s2 = lib.new_cell('CMOS_s2')
R(cmos_s2, li1, [(-5.155,-9.355,-4.755,-8.895), (-5.155,-8.895,-1.29,-8.695), (3.51,-8.895,14.16,-8.695), (-5.155,-8.695,-4.755,-8.235), (3.51,-8.695,3.71,-8.345), (-7.435,-5.605,-7.035,-5.145), (6.465,-5.18,6.635,-5.01), (-7.435,-5.145,-0.54,-4.945), (10,-5.145,12.56,-4.945), (16.515,-5.06,16.915,-4.3), (-7.435,-4.945,-7.035,-4.485), (-3.445,-4.775,-3.045,-4.395), (-3.445,-4.395,0.96,-4.195), (-3.445,-4.195,-3.045,-3.655), (-6.295,-2.865,-5.895,-2.405), (-6.295,-2.405,-2.105,-2.205), (3.1,-2.265,3.5,-2.155), (16.195,-2.265,16.595,-2.165), (-6.295,-2.205,-5.895,-1.745), (-2.305,-2.205,-2.105,-2.155), (13.71,-2.165,16.595,-1.965), (-2.305,-2.155,0.21,-1.955), (0.61,-2.155,3.5,-1.955), (4.59,-2.145,7.25,-1.945), (-2.875,-2.035,-2.475,-1.675), (16.195,-1.965,16.595,-1.865), (3.1,-1.955,3.5,-1.865), (4.59,-1.945,4.79,-0.455), (-2.875,-1.675,-1.765,-1.275), (-3.445,-1.465,-3.045,-0.745), (-2.875,-1.275,-2.475,-0.915), (8.3,-1.085,8.7,-1.005), (-2.305,-1.005,1.235,-0.805), (8.3,-1.005,9.025,-0.805), (10.385,-1.005,13.31,-0.805), (-2.305,-0.805,-2.105,-0.745), (8.3,-0.805,8.7,-0.685), (10.385,-0.805,10.585,1.515), (-3.445,-0.745,-2.105,-0.545), (-3.445,-0.545,-3.045,-0.345), (4.14,-0.455,4.79,-0.255), (-4.015,0.66,-3.615,1.12), (-4.015,1.12,-1.015,1.32), (6.89,1.135,7.06,1.305), (-4.015,1.32,-3.615,1.78), (16.06,1.395,16.595,2.155), (10.28,1.515,10.68,1.915), (-4.585,1.615,-4.185,2.075), (12.525,2.06,12.695,2.23), (-4.585,2.075,-1.165,2.275), (6.74,2.09,6.91,2.26), (-4.585,2.275,-4.185,2.735), (-5.155,5.285,-4.755,5.745), (8.3,5.625,8.7,5.745), (-5.155,5.745,1.235,5.945), (8.3,5.745,9.025,5.945), (-5.155,5.945,-4.755,6.405), (8.3,5.945,8.7,6.025)])
A(cmos_s2, mcon, -5.04, -9.24, 0.17, 0.17, 1, 3, 0, 0.36)
A(cmos_s2, mcon, -7.32, -5.49, 0.17, 0.17, 1, 3, 0, 0.36)
A(cmos_s2, mcon, -3.33, -4.66, 0.17, 0.17, 1, 3, 0, 0.36)
A(cmos_s2, mcon, -6.18, -2.75, 0.17, 0.17, 1, 3, 0, 0.36)
A(cmos_s2, mcon, -2.76, -1.92, 0.17, 0.17, 1, 3, 0, 0.36)
A(cmos_s2, mcon, -3.33, -1.35, 0.17, 0.17, 1, 3, 0, 0.36)
A(cmos_s2, mcon, -3.9, 0.775, 0.17, 0.17, 1, 3, 0, 0.36)
A(cmos_s2, mcon, -4.47, 1.73, 0.17, 0.17, 1, 3, 0, 0.36)
A(cmos_s2, mcon, -5.04, 5.4, 0.17, 0.17, 1, 3, 0, 0.36)
R(cmos_s2, mcon, [(6.465,-5.18,6.635,-5.01), (16.63,-4.945,16.8,-4.775), (16.63,-4.585,16.8,-4.415), (3.215,-2.15,3.385,-1.98), (16.31,-2.15,16.48,-1.98), (8.415,-0.97,8.585,-0.8), (6.89,1.135,7.06,1.305), (16.31,1.51,16.48,1.68), (10.395,1.63,10.565,1.8), (16.31,1.87,16.48,2.04), (12.525,2.06,12.695,2.23), (6.74,2.09,6.91,2.26), (8.415,5.74,8.585,5.91)])
R(cmos_s2, met1_pin, [(-2.76,-1.56,-2.59,-1.39), (-6.82,6.03,-6.515,6.33), (-5.675,6.03,-5.37,6.33), (-4.54,6.035,-4.235,6.335), (-3.39,6.04,-3.085,6.34), (-7.385,6.335,-7.08,6.635), (-6.245,6.335,-5.94,6.635), (-2.215,6.335,-2.045,6.505), (-5.105,6.34,-4.8,6.64), (-3.965,6.34,-3.66,6.64)])
A(cmos_s2, met1, -7.435, -9.62, 0.4, 16.285, 4, 1, 0.57, 0)
A(cmos_s2, met1, -4.015, -9.615, 0.4, 16.28, 3, 1, 0.57, 0)
A(cmos_s2, met1, 10.425, -9.615, 1.66, 0.5, 1, 3, 0, 7.89)
R(cmos_s2, met1, [(-4.585,-9.62,-4.185,6.665), (-5.155,-9.615,-4.755,6.665), (-2.305,-9.615,-1.765,-9.115), (3.285,-9.615,6.025,-9.115), (-2.305,-9.115,-1.905,6.165), (6.35,-5.295,6.75,-4.895), (16.515,-5.06,16.915,-4.3), (3.1,-2.265,3.5,-1.865), (16.195,-2.265,16.595,-1.865), (4.42,-1.725,6.025,-1.225), (8.3,-1.085,8.7,-0.685), (6.775,1.02,7.175,1.42), (16.195,1.395,16.595,2.155), (10.28,1.515,10.68,1.915), (12.41,1.945,12.81,2.345), (6.625,1.975,7.025,2.375), (8.3,5.625,8.7,6.025), (-2.305,6.165,-1.765,6.665), (4.365,6.165,6.025,6.665)])
A(cmos_s2, via, -5.6, -5.515, 0.15, 0.15, 1, 3, 0, 0.34)
A(cmos_s2, via, -4.46, -3.7, 0.15, 0.15, 1, 3, 0, 0.34)
A(cmos_s2, via, -5.6, -2.92, 0.15, 0.15, 1, 3, 0, 0.34)
A(cmos_s2, via, -6.74, -1.32, 0.15, 0.15, 1, 3, 0, 0.34)
A(cmos_s2, via, -7.31, 5.41, 0.15, 0.15, 1, 3, 0, 0.34)
R(cmos_s2, via, [(6.475,-5.17,6.625,-5.02), (16.64,-4.935,16.79,-4.785), (16.64,-4.575,16.79,-4.425), (3.225,-2.14,3.375,-1.99), (16.32,-2.14,16.47,-1.99), (8.425,-0.96,8.575,-0.81), (6.9,1.145,7.05,1.295), (16.32,1.52,16.47,1.67), (10.405,1.64,10.555,1.79), (16.32,1.88,16.47,2.03), (12.535,2.07,12.685,2.22), (6.75,2.1,6.9,2.25), (8.425,5.75,8.575,5.9)])
R(cmos_s2, met2_pin, [(16.63,-4.585,16.8,-4.415)])
R(cmos_s2, met2, [(-5.725,-5.64,-5.325,-5.2), (6.35,-5.295,6.75,-5.2), (-5.725,-5.2,6.75,-5), (16.515,-5.06,16.915,-4.78), (-5.725,-5,-5.325,-4.56), (6.35,-5,6.75,-4.895), (16.515,-4.78,17.14,-4.58), (16.515,-4.58,16.915,-4.3), (-4.585,-3.825,-4.185,-2.945), (-5.725,-3.045,-5.325,-2.605), (-4.585,-2.945,11.02,-2.745), (10.82,-2.745,11.02,2.045), (-5.725,-2.605,8.6,-2.405), (-5.725,-2.405,-5.325,-1.965), (8.4,-2.405,8.6,-1.085), (3.1,-2.265,3.5,-2.165), (16.195,-2.265,16.595,-1.865), (3.1,-2.165,7.075,-1.965), (3.1,-1.965,3.5,-1.865), (6.875,-1.965,7.075,1.02), (16.295,-1.865,16.495,1.395), (-6.865,-1.445,-6.465,-1.005), (8.3,-1.085,8.7,-0.685), (-6.865,-1.005,5.1,-0.805), (-6.865,-0.805,-6.465,-0.365), (4.9,-0.805,5.1,2.075), (6.775,1.02,7.175,1.42), (16.195,1.395,16.595,2.155), (10.28,1.515,10.68,1.915), (12.41,1.945,12.81,2.045), (6.625,1.975,7.025,2.075), (10.82,2.045,12.81,2.245), (4.9,2.075,7.025,2.275), (12.41,2.245,12.81,2.345), (6.625,2.275,7.025,2.375), (-7.435,5.285,-7.035,5.725), (8.3,5.625,8.7,5.725), (-7.435,5.725,8.7,5.925), (-7.435,5.925,-7.035,6.365), (8.3,5.925,8.7,6.025)])
cmos_s2.add(gdstk.Reference(cmos_xnor, (1.3,2.495)))
cmos_s2.add(gdstk.Reference(cmos_xor, (8.225,2.495)))
cmos_s2.add(gdstk.Reference(cmos_3in_or, (14.61,-5.445), x_reflection=True))
cmos_s2.add(gdstk.Reference(cmos_and, (8.225,-5.445), x_reflection=True))
cmos_s2.add(gdstk.Reference(cmos_and, (14.285,2.495)))
cmos_s2.add(gdstk.Reference(cmos_4in_and, (1.135,-5.445), x_reflection=True))
cmos_s2.add(gdstk.Label('GND', (-2.675,-1.475), layer=68, texttype=16))
cmos_s2.add(gdstk.Label('x0', (-7.232,6.485), layer=68, texttype=16))
cmos_s2.add(gdstk.Label('x0_bar', (-6.667,6.18), layer=68, texttype=16))
cmos_s2.add(gdstk.Label('x1', (-6.092,6.485), layer=68, texttype=16))
cmos_s2.add(gdstk.Label('x1_bar', (-5.522,6.18), layer=68, texttype=16))
cmos_s2.add(gdstk.Label('x2', (-4.952,6.49), layer=68, texttype=16))
cmos_s2.add(gdstk.Label('x2_bar', (-4.387,6.185), layer=68, texttype=16))
cmos_s2.add(gdstk.Label('x3', (-3.812,6.49), layer=68, texttype=16))
cmos_s2.add(gdstk.Label('VDD', (-2.13,6.42), layer=68, texttype=16))
cmos_s2.add(gdstk.Label('x3_bar', (-3.237,6.19), layer=68, texttype=16))
cmos_s2.add(gdstk.Label('s2', (16.715,-4.5), layer=69, texttype=16))

lib.write_gds('CMOS_s2.gds')
